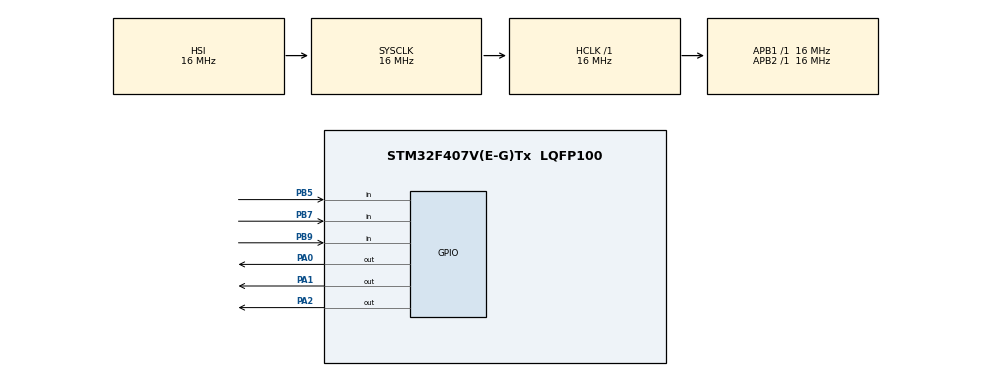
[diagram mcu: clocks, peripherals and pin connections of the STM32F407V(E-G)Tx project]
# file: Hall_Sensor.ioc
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Mcu.Family=STM32F4
Mcu.Name=STM32F407V(E-G)Tx
Mcu.Package=LQFP100
NVIC.PriorityGroup=NVIC_PRIORITYGROUP_4
PA0-WKUP.Signal=GPIO_Output
PA1.Signal=GPIO_Output
PA13.Mode=Serial_Wire
PA13.Signal=SYS_JTMS-SWDIO
PA14.Mode=Serial_Wire
PA14.Signal=SYS_JTCK-SWCLK
PA2.Signal=GPIO_Output
PB5.Signal=GPIO_Input
PB7.Signal=GPIO_Input
PB9.Signal=GPIO_Input
ProjectManager.HeapSize=0x200
ProjectManager.StackSize=0x400
ProjectManager.TargetToolchain=STM32CubeIDE
RCC.AHBFreq_Value=16000000
RCC.APB1Freq_Value=16000000
RCC.APB2Freq_Value=16000000
RCC.CortexFreq_Value=16000000
RCC.HSE_VALUE=25000000
RCC.HSI_VALUE=16000000
RCC.LSE_VALUE=32768
RCC.SYSCLKFreq_VALUE=16000000
RCC.VCOOutputFreq_Value=192000000
board=custom

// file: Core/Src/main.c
/* USER CODE BEGIN Header */
/**
  ******************************************************************************
  * @file           : main.c
  * @brief          : Main program body
  ******************************************************************************
  * @attention
  *
  * Copyright (c) 2024 STMicroelectronics.
  * All rights reserved.
  *
  * This software is licensed under terms that can be found in the LICENSE file
  * in the root directory of this software component.
  * If no LICENSE file comes with this software, it is provided AS-IS.
  *
  ******************************************************************************
  */
/* USER CODE END Header */
#include "main.h"

void SystemClock_Config(void);
static void MX_GPIO_Init(void);

/* USER CODE BEGIN 0 */

uint16_t Hall_Sensor1=0;
uint16_t Hall_Sensor2=0;
uint16_t Hall_Sensor3=0;

/* USER CODE END 0 */

int main(void)
{

  /* MCU Configuration--------------------------------------------------------*/

  /* Reset of all peripherals, Initializes the Flash interface and the Systick. */
  HAL_Init();

  /* Configure the system clock */
  SystemClock_Config();

  /* Initialize all configured peripherals */
  MX_GPIO_Init();

  /* Infinite loop */
  /* USER CODE BEGIN WHILE */
  while (1)
  {

	  if(HAL_GPIO_ReadPin(GPIOB, GPIO_PIN_9) == GPIO_PIN_SET)
	  	  	  {
		  	  Hall_Sensor1=HAL_GPIO_ReadPin(GPIOB, GPIO_PIN_9);
		  	  HAL_GPIO_WritePin(GPIOA, GPIO_PIN_1, 1);
	      	  }
	  else
	  	  	  {
		  	  Hall_Sensor1=HAL_GPIO_ReadPin(GPIOB, GPIO_PIN_9);
		  	  HAL_GPIO_WritePin(GPIOA, GPIO_PIN_1, 0);
	      	  }

	  if(HAL_GPIO_ReadPin(GPIOB, GPIO_PIN_7) == GPIO_PIN_SET)
	 	      {
		  	  Hall_Sensor2=HAL_GPIO_ReadPin(GPIOB, GPIO_PIN_7);
	 	      HAL_GPIO_WritePin(GPIOA, GPIO_PIN_0, 1);
	 	      }
	  else
	 	      {
		  	  Hall_Sensor2=HAL_GPIO_ReadPin(GPIOB, GPIO_PIN_7);
	 	      HAL_GPIO_WritePin(GPIOA, GPIO_PIN_0, 0);

	 	      }

	  if(HAL_GPIO_ReadPin(GPIOB, GPIO_PIN_5) == GPIO_PIN_SET)
	  	 	  {
	  		  Hall_Sensor3=HAL_GPIO_ReadPin(GPIOB, GPIO_PIN_5);
	  	 	  HAL_GPIO_WritePin(GPIOA, GPIO_PIN_2, 1);
	  	 	  }
	  else
	  	 	  {
	  		  Hall_Sensor3=HAL_GPIO_ReadPin(GPIOB, GPIO_PIN_5);
	  	 	  HAL_GPIO_WritePin(GPIOA, GPIO_PIN_2, 0);

	  	 	  }
	  HAL_Delay(50);

    /* USER CODE END WHILE */

  }
}

void SystemClock_Config(void)
{
  RCC_OscInitTypeDef RCC_OscInitStruct = {0};
  RCC_ClkInitTypeDef RCC_ClkInitStruct = {0};

  /** Configure the main internal regulator output voltage
  */
  __HAL_RCC_PWR_CLK_ENABLE();
  __HAL_PWR_VOLTAGESCALING_CONFIG(PWR_REGULATOR_VOLTAGE_SCALE1);

  /** Initializes the RCC Oscillators according to the specified parameters
  * in the RCC_OscInitTypeDef structure.
  */
  RCC_OscInitStruct.OscillatorType = RCC_OSCILLATORTYPE_HSI;
  RCC_OscInitStruct.HSIState = RCC_HSI_ON;
  RCC_OscInitStruct.HSICalibrationValue = RCC_HSICALIBRATION_DEFAULT;
  RCC_OscInitStruct.PLL.PLLState = RCC_PLL_NONE;
  if (HAL_RCC_OscConfig(&RCC_OscInitStruct) != HAL_OK)
  {
    Error_Handler();
  }

  /** Initializes the CPU, AHB and APB buses clocks
  */
  RCC_ClkInitStruct.ClockType = RCC_CLOCKTYPE_HCLK|RCC_CLOCKTYPE_SYSCLK
                              |RCC_CLOCKTYPE_PCLK1|RCC_CLOCKTYPE_PCLK2;
  RCC_ClkInitStruct.SYSCLKSource = RCC_SYSCLKSOURCE_HSI;
  RCC_ClkInitStruct.AHBCLKDivider = RCC_SYSCLK_DIV1;
  RCC_ClkInitStruct.APB1CLKDivider = RCC_HCLK_DIV1;
  RCC_ClkInitStruct.APB2CLKDivider = RCC_HCLK_DIV1;

  if (HAL_RCC_ClockConfig(&RCC_ClkInitStruct, FLASH_LATENCY_0) != HAL_OK)
  {
    Error_Handler();
  }
}

static void MX_GPIO_Init(void)
{
  GPIO_InitTypeDef GPIO_InitStruct = {0};

  /* GPIO Ports Clock Enable */
  __HAL_RCC_GPIOA_CLK_ENABLE();
  __HAL_RCC_GPIOB_CLK_ENABLE();

  /*Configure GPIO pin Output Level */
  HAL_GPIO_WritePin(GPIOA, GPIO_PIN_0|GPIO_PIN_1|GPIO_PIN_2, GPIO_PIN_RESET);

  /*Configure GPIO pins : PA0 PA1 PA2 */
  GPIO_InitStruct.Pin = GPIO_PIN_0|GPIO_PIN_1|GPIO_PIN_2;
  GPIO_InitStruct.Mode = GPIO_MODE_OUTPUT_PP;
  GPIO_InitStruct.Pull = GPIO_NOPULL;
  GPIO_InitStruct.Speed = GPIO_SPEED_FREQ_LOW;
  HAL_GPIO_Init(GPIOA, &GPIO_InitStruct);

  /*Configure GPIO pins : PB5 PB7 PB9 */
  GPIO_InitStruct.Pin = GPIO_PIN_5|GPIO_PIN_7|GPIO_PIN_9;
  GPIO_InitStruct.Mode = GPIO_MODE_INPUT;
  GPIO_InitStruct.Pull = GPIO_NOPULL;
  HAL_GPIO_Init(GPIOB, &GPIO_InitStruct);

}

void Error_Handler(void)
{
  __disable_irq();
  while (1)
  {
  }
}
